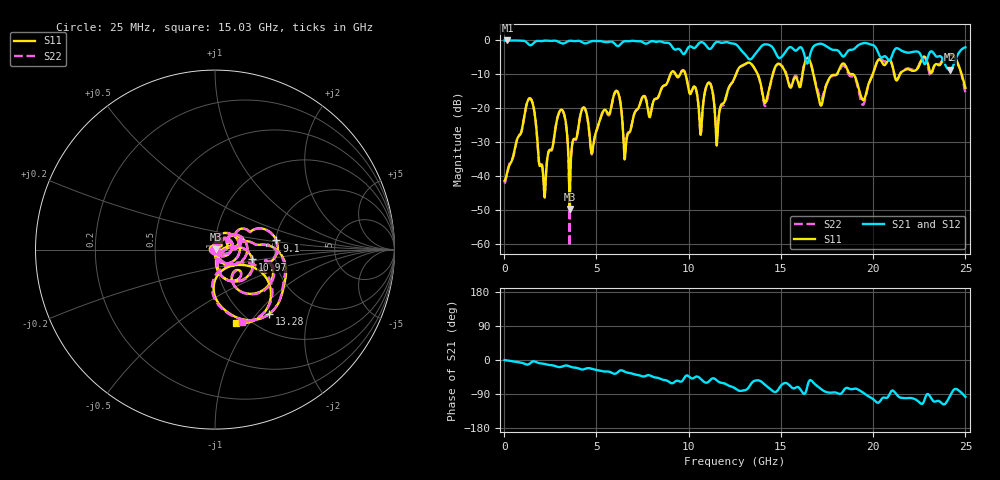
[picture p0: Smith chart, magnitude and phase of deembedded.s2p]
! R_s4_rect_n1: 3D, de-embedded (matched 2x-thru)
# Hz S RI R 50
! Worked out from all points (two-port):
!   1000 points, 25 MHz to 25 GHz, reference 50 ohm
!   highest |S21| = -0.07 dB at 175 MHz (marker M1); lowest = -8.7 dB at 24.15 GHz (marker M2)
!   |S21| within 3 dB of the highest: start of sweep to 9.573 GHz; 9.879 GHz to 12.87 GHz (2.987 GHz wide, 26.3 % of centre) (the widest 2 of 8)
!   lowest |S11| = -49.6 dB at 3.55 GHz (marker M3), VSWR 1.01, Z = 50.3 + j0.0611 ohm
!   |S11| at or under -10 dB: start of sweep to 9.012 GHz; 9.828 GHz to 12.56 GHz (2.736 GHz wide, 24.4 % of centre); 16.76 GHz to 18.03 GHz (1.269 GHz wide, 7.29 % of centre) (the widest 3 of 9)
!   |S22| runs from -60.5 to -4.3 dB; largest |S21 - S12| = 3.2e-06
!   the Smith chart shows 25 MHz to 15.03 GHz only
!   S11 on the Smith chart (normalised r, x): 25 MHz: 0.98, +0.00; 9.1 GHz: 2.02, +0.24; 10.97 GHz: 1.51, -0.17; 13.28 GHz: 1.26, -1.16; 15.03 GHz: 0.86, -0.86
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2.5e7  -0.00857 0.000716  0.99 -0.00271  0.99 -0.00271  -0.0078 0.000458
1.75e8  -0.00947 0.0068  0.9914 -0.0213  0.9914 -0.0213  -0.01 0.00619
1.4e9  0.1389 0.0157  0.8354 -0.1321  0.8354 -0.1321  0.1396 0.0163
2.125e9  0.000643 -0.00947  0.9656 -0.1649  0.9656 -0.1649  0.000363 -0.00995
3.075e9  0.0871 0.0378  0.8632 -0.2853  0.8632 -0.2853  0.0873 0.0341
3.55e9  0.00325 0.000607  0.9386 -0.2863  0.9386 -0.2863  0.000878 0.000341
4.2e9  0.0691 0.0626  0.8566 -0.3976  0.8567 -0.3976  0.0681 0.0632
4.775e9  0.0206 0.00938  0.8893 -0.3865  0.8893 -0.3865  0.0199 0.00958
6.125e9  0.1772 -0.022  0.6864 -0.4543  0.6864 -0.4543  0.1784 -0.0137
6.6e9  0.0256 0.0118  0.8191 -0.5159  0.8191 -0.5159  0.0274 0.0117
8.35e9  0.1143 0.0907  0.6502 -0.7034  0.6502 -0.7034  0.1152 0.0889
9.1e9  0.3421 0.0512  0.3847 -0.7079  0.3847 -0.7079  0.3395 0.0516
1.0975e10  0.2081 -0.0549  0.4081 -0.702  0.4081 -0.702  0.2096 -0.0501
1.155e10  0.0343 -0.00351  0.5457 -0.7742  0.5457 -0.7742  0.037 -0.0117
1.2525e10  0.2959 0.0239  0.2248 -0.8493  0.2248 -0.8493  0.2947 0.0228
1.3275e10  0.3007 -0.3594  0.1714 -0.4977  0.1714 -0.4977  0.3004 -0.36
1.5025e10  0.1153 -0.408  0.2256 -0.5167  0.2256 -0.5167  0.1486 -0.4025
1.6675e10  -0.1649 -0.3648  0.4177 -0.6  0.4177 -0.6  -0.1598 -0.3759
1.945e10  0.0312 -0.1279  0.0648 -0.8997  0.0648 -0.8997  0.0357 -0.1064
2.085e10  0.0785 -0.5072  -0.0364 -0.5033  -0.0364 -0.5033  0.0543 -0.5218
2.415e10  -0.0957 -0.6029  -0.0425 -0.3664  -0.0425 -0.3664  -0.1033 -0.6025
2.5e10  -0.111 -0.165  -0.0983 -0.7787  -0.0983 -0.7787  -0.0805 -0.1499
